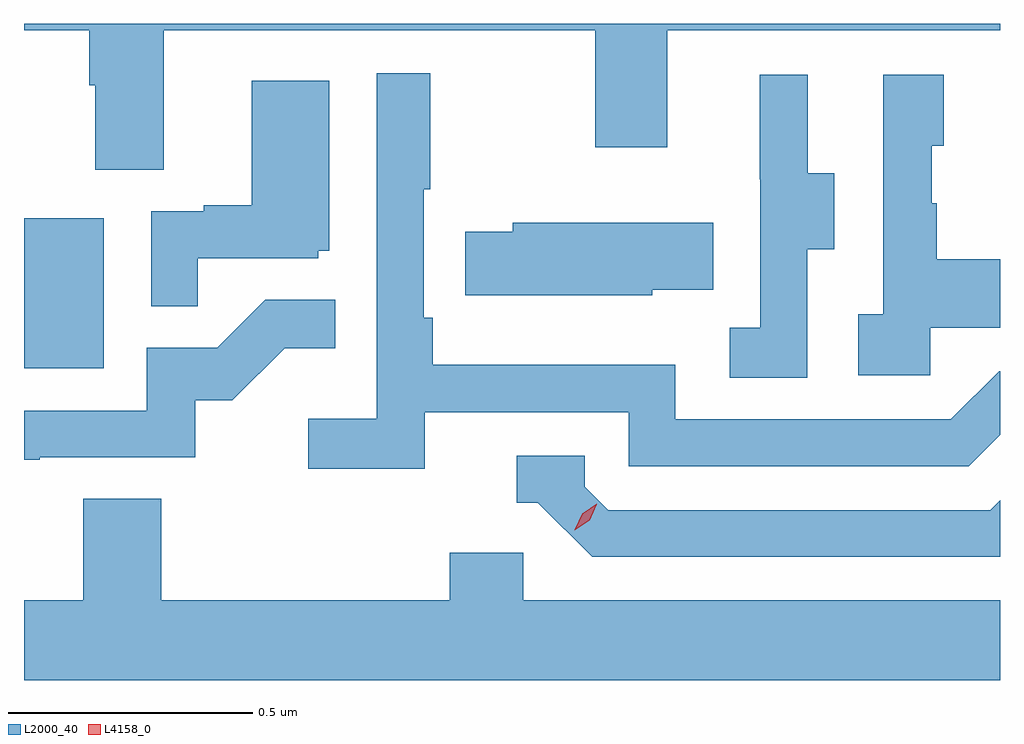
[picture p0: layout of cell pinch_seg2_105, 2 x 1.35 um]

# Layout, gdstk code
import gdstk
lib = gdstk.Library(unit=1e-6, precision=1e-09)
def R(c, l, rs):  # rectangles x0, y0, x1, y1
    for r in rs: c.add(gdstk.rectangle(r[:2], r[2:], *l))
def P(c, l, *ps):  # polygons
    for p in ps: c.add(gdstk.Polygon(p, *l))
L2000_40 = (2000, 40)
L4158_0 = (4158, 0)

pinch_seg2_105 = lib.new_cell('pinch_seg2_105')
R(pinch_seg2_105, L2000_40, [(1028.679,645.612,1028.842,645.919)])
P(pinch_seg2_105, L2000_40, [(1028.965,646.304),(1029.85,646.304),(1029.85,646.065),(1029.997,646.065),(1029.997,646.304),(1030.679,646.304),(1030.679,646.318),(1028.679,646.318),(1028.679,646.304),(1028.813,646.304),(1028.813,646.192),(1028.825,646.192),(1028.825,646.018),(1028.965,646.018)],
  [(1029.5,645.522),(1029.918,645.522),(1029.918,645.411),(1030.615,645.411),(1030.679,645.475),(1030.679,645.606),(1030.677,645.606),(1030.578,645.507),(1030.014,645.507),(1030.014,645.619),(1029.517,645.619),(1029.517,645.715),(1029.498,645.715),(1029.498,645.979),(1029.511,645.979),(1029.511,646.216),(1029.402,646.216),(1029.402,645.508),(1029.261,645.508),(1029.261,645.406),(1029.5,645.406)],
  [(1030.536,645.695),(1030.679,645.695),(1030.679,645.835),(1030.549,645.835),(1030.549,645.95),(1030.539,645.95),(1030.539,646.068),(1030.564,646.068),(1030.564,646.213),(1030.44,646.213),(1030.44,645.722),(1030.389,645.722),(1030.389,645.597),(1030.536,645.597)],
  [(1030.284,645.856),(1030.339,645.856),(1030.339,646.011),(1030.285,646.011),(1030.285,646.213),(1030.187,646.213),(1030.187,645.999),(1030.188,645.999),(1030.188,645.695),(1030.125,645.695),(1030.125,645.592),(1030.284,645.592)],
  [(1029.035,645.837),(1029.282,645.837),(1029.282,645.852),(1029.304,645.852),(1029.304,646.201),(1029.146,646.201),(1029.146,645.946),(1029.047,645.946),(1029.047,645.933),(1028.94,645.933),(1028.94,645.739),(1029.035,645.739)],
  [(1029.966,645.773),(1030.091,645.773),(1030.091,645.91),(1029.681,645.91),(1029.681,645.891),(1029.583,645.891),(1029.583,645.761),(1029.966,645.761)],
  [(1028.711,645.429),(1029.03,645.429),(1029.03,645.546),(1029.106,645.546),(1029.213,645.653),(1029.317,645.653),(1029.317,645.752),(1029.173,645.752),(1029.075,645.654),(1028.931,645.654),(1028.931,645.525),(1028.679,645.525),(1028.679,645.424),(1028.711,645.424)],
  [(1030.679,645.341),(1030.659,645.321),(1029.876,645.321),(1029.828,645.369),(1029.828,645.432),(1029.689,645.432),(1029.689,645.336),(1029.732,645.336),(1029.843,645.225),(1030.679,645.225)],
  [(1030.679,645.136),(1029.702,645.136),(1029.702,645.234),(1029.551,645.234),(1029.551,645.136),(1028.96,645.136),(1028.96,645.344),(1028.8,645.344),(1028.8,645.136),(1028.679,645.136),(1028.679,644.972),(1030.679,644.972)])
P(pinch_seg2_105, L4158_0, [(1029.808,645.28),(1029.808,645.281),(1029.823,645.314),(1029.853,645.334),(1029.853,645.334),(1029.853,645.333),(1029.838,645.3),(1029.808,645.28)])

lib.write_gds('pinch_seg2_105.gds')
